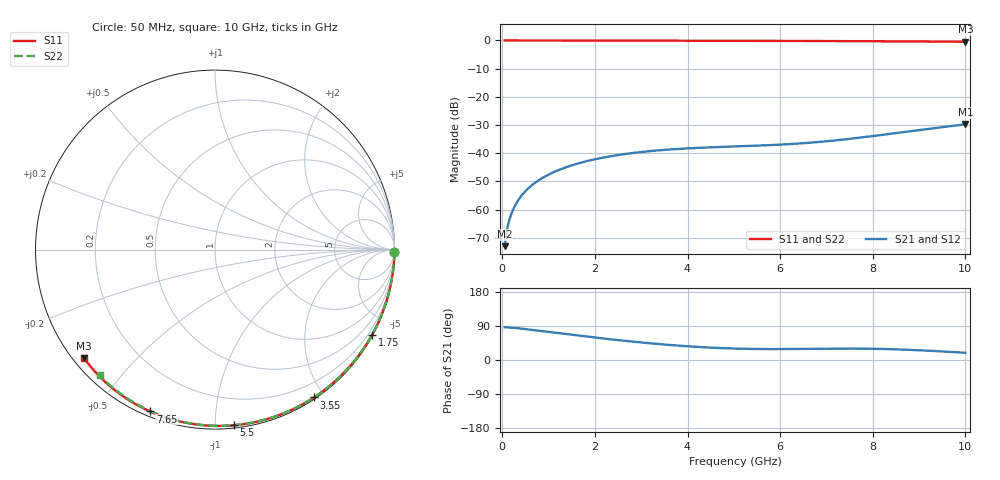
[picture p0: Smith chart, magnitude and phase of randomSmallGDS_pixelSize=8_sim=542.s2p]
! freq	dB(S11)	phase(S11)	dB(S12)	phase(S12)
!  dB(S21)	phase(S21)	dB(S22)	phase(S22)
!S-par simulation data
#  GHz  S  DB  R 50
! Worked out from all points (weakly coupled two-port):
!   200 points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, 50 MHz to 10 GHz, reference 50 ohm
!   highest |S21| = -29.73 dB at 10 GHz (marker M1); lowest = -72.9 dB at 50 MHz (marker M2)
!   lowest |S11| = -0.5 dB at 10 GHz (marker M3), VSWR 37.32, Z = 1.51 - j18 ohm
!   |S11| at or under -10 dB: nowhere
!   |S22| runs from -0.4 to 0.0 dB; largest |S21 - S12| = 0
!   S11 on the Smith chart (normalised r, x): 50 MHz: open; 1.75 GHz: 0.03, -3.95; 3.55 GHz: 0.02, -1.87; 5.5 GHz: 0.02, -1.11; 7.65 GHz: 0.02, -0.68; 10 GHz: 0.03, -0.36
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0.05  -0.00 -0.8  -72.93 86.6  -72.93 86.6  -0.00 -0.8
0.1  -0.00 -1.7  -67.16 86.2  -67.16 86.2  -0.00 -1.6
0.15  -0.00 -2.5  -63.73 85.9  -63.73 85.9  -0.00 -2.3
0.2  -0.00 -3.3  -61.28 85.5  -61.28 85.5  -0.00 -3.1
0.25  -0.00 -4.1  -59.36 84.9  -59.36 84.9  -0.00 -3.9
0.35  -0.00 -5.8  -56.47 83.6  -56.47 83.6  -0.00 -5.5
0.5  -0.01 -8.2  -53.41 81.5  -53.41 81.5  -0.01 -7.8
0.7  -0.01 -11.5  -50.54 78.5  -50.54 78.5  -0.01 -10.9
1  -0.02 -16.4  -47.55 74.0  -47.55 74.0  -0.02 -15.5
1.35  -0.03 -22.0  -45.11 68.7  -45.11 68.7  -0.03 -20.8
1.75  -0.04 -28.4  -43.10 62.8  -43.10 62.8  -0.03 -26.9
2.5  -0.05 -40.2  -40.62 52.5  -40.62 52.5  -0.05 -38.0
3.4  -0.07 -53.9  -38.92 41.9  -38.92 41.9  -0.07 -51.0
3.55  -0.08 -56.2  -38.73 40.3  -38.73 40.3  -0.07 -53.1
4.3  -0.10 -67.1  -38.02 34.0  -38.02 34.0  -0.09 -63.5
5.05  -0.12 -77.7  -37.56 30.1  -37.56 30.1  -0.11 -73.6
5.5  -0.14 -83.9  -37.30 29.0  -37.30 29.0  -0.13 -79.5
6.7  -0.19 -99.8  -36.18 29.6  -36.18 29.6  -0.18 -94.5
7.65  -0.25 -111.8  -34.59 30.1  -34.59 30.1  -0.24 -105.9
8.35  -0.30 -120.4  -33.16 28.7  -33.16 28.7  -0.29 -114.0
9.2  -0.38 -130.7  -31.36 24.5  -31.36 24.5  -0.36 -123.6
10  -0.47 -140.4  -29.73 19.0  -29.73 19.0  -0.44 -132.5
